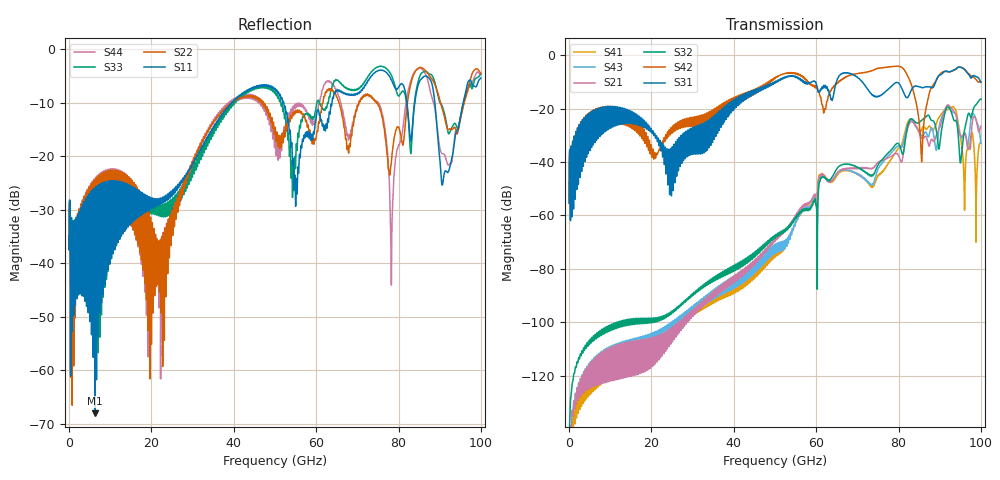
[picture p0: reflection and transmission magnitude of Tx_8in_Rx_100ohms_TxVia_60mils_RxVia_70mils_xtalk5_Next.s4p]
! Info: Touchstone file created by Circ.  Input file=Tx_8in_Rx_100ohms_TxVia_60mils_RxVia_70mils.circ
# Hz S RI R 50
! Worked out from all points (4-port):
!   10000 points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, 10 MHz to 100 GHz, reference 50 ohm
!   strongest paths, dB at 10 MHz, 25.01 GHz, 50.01 GHz, 75.01 GHz, 100 GHz:
!     S31: -55.3, -35.1, -10.5, -15.4, -10.1
!     S42: -55.3, -28.4, -8.7, -4.8, -10.0
!     S32: -156.6, -95.7, -68.3, -41.1, -16.4
!     S21: -167.4, -104.3, -69.6, -40.0, -26.6
!     S43: -158.1, -102.9, -73.3, -42.5, -33.0
!     S41: -158.4, -101.3, -75.4, -44.9, -32.9
!   lowest |S11| = -68.0 dB at 6.26 GHz (marker M1), VSWR 1.00, Z = 50 + j0.0215 ohm
!   |S11| at or under -10 dB: start of sweep to 39.57 GHz; 52.12 GHz to 63.83 GHz (11.72 GHz wide, 20.2 % of centre); 88.82 GHz to 95.74 GHz (6.922 GHz wide, 7.5 % of centre) (the widest 3 of 5)
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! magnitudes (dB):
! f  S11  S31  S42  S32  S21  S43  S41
! 10 MHz  -37.5  -55.3  -55.3  -156.6  -167.4  -158.1  -158.4
! 6.26 GHz  -68.0  -32.3  -28.8  -105.2  -118.2  -117.5  -124.3
! 22.21 GHz  -28.1  -34.1  -34.0  -98.2  -113.1  -110.1  -105.8
! 40.76 GHz  -9.2  -16.0  -15.4  -80.3  -84.4  -86.3  -88.2
! 78.28 GHz  -5.8  -11.6  -4.2  -35.4  -37.9  -36.5  -38.8
! 85.59 GHz  -5.6  -12.1  -39.9  -24.4  -31.1  -30.1  -27.8
! 100 GHz  -5.4  -10.1  -10.0  -16.4  -26.6  -33.0  -32.9
